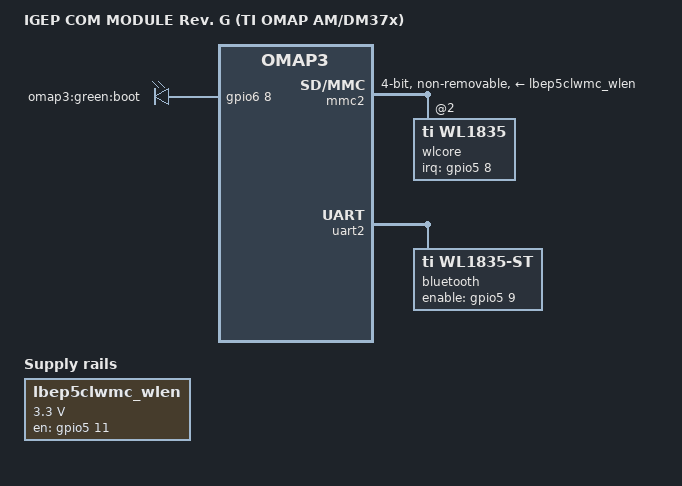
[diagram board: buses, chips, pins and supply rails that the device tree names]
// SPDX-License-Identifier: GPL-2.0-only
/*
 * Device Tree Source for IGEP COM MODULE Rev. G (TI OMAP AM/DM37x)
 *
 * Copyright (C) 2014 Javier Martinez Canillas <javier@dowhile0.org>
 * Copyright (C) 2014 Enric Balletbo i Serra <eballetbo@gmail.com>
 */

#include "omap3-igep0030-common.dtsi"

/ {
	model = "IGEP COM MODULE Rev. G (TI OMAP AM/DM37x)";
	compatible = "isee,omap3-igep0030-rev-g", "ti,omap3630", "ti,omap3";

	/* Regulator to trigger the WL_EN signal of the Wifi module */
	lbep5clwmc_wlen: regulator-lbep5clwmc-wlen {
		compatible = "regulator-fixed";
		regulator-name = "regulator-lbep5clwmc-wlen";
		regulator-min-microvolt = <3300000>;
		regulator-max-microvolt = <3300000>;
		gpio = <&gpio5 11 GPIO_ACTIVE_HIGH>;		/* gpio_139 - WL_EN */
		enable-active-high;
	};
};

&omap3_pmx_core {
	lbep5clwmc_pins: pinmux_lbep5clwmc_pins {
		pinctrl-single,pins = <
			OMAP3_CORE1_IOPAD(0x2164, PIN_INPUT | MUX_MODE4)	/* sdmmc2_dat4.gpio_136 - W_IRQ */
			OMAP3_CORE1_IOPAD(0x2166, PIN_OUTPUT | MUX_MODE4)	/* sdmmc2_dat5.gpio_137 - BT_EN */
			OMAP3_CORE1_IOPAD(0x216a, PIN_OUTPUT | MUX_MODE4)	/* sdmmc2_dat7.gpio_139 - WL_EN */
		>;
	};

	leds_pins: pinmux_leds_pins {
		pinctrl-single,pins = <
			OMAP3_CORE1_IOPAD(0x21be, PIN_OUTPUT | MUX_MODE4)	/* i2c2_scl.gpio_168 */
		>;
	};

};

&i2c2 {
	status = "disabled";
};

&leds {
	pinctrl-names = "default";
	pinctrl-0 = <&leds_pins &leds_core2_pins>;

	boot {
		label = "omap3:green:boot";
		gpios = <&gpio6 8 GPIO_ACTIVE_HIGH>;
		default-state = "on";
	};
};

&mmc2 {
	pinctrl-names = "default";
	pinctrl-0 = <&mmc2_pins &lbep5clwmc_pins>;
	vmmc-supply = <&lbep5clwmc_wlen>;
	bus-width = <4>;
	non-removable;

	#address-cells = <1>;
	#size-cells = <0>;
	wlcore: wlcore@2 {
		compatible = "ti,wl1835";
		reg = <2>;
		interrupt-parent = <&gpio5>;
		interrupts = <8 IRQ_TYPE_EDGE_RISING>; /* gpio 136 */
	};
};

&uart2 {
	bluetooth {
		compatible = "ti,wl1835-st";
		enable-gpios = <&gpio5 9 GPIO_ACTIVE_HIGH>; /* gpio 137 */
		max-speed = <300000>;
	};
};
